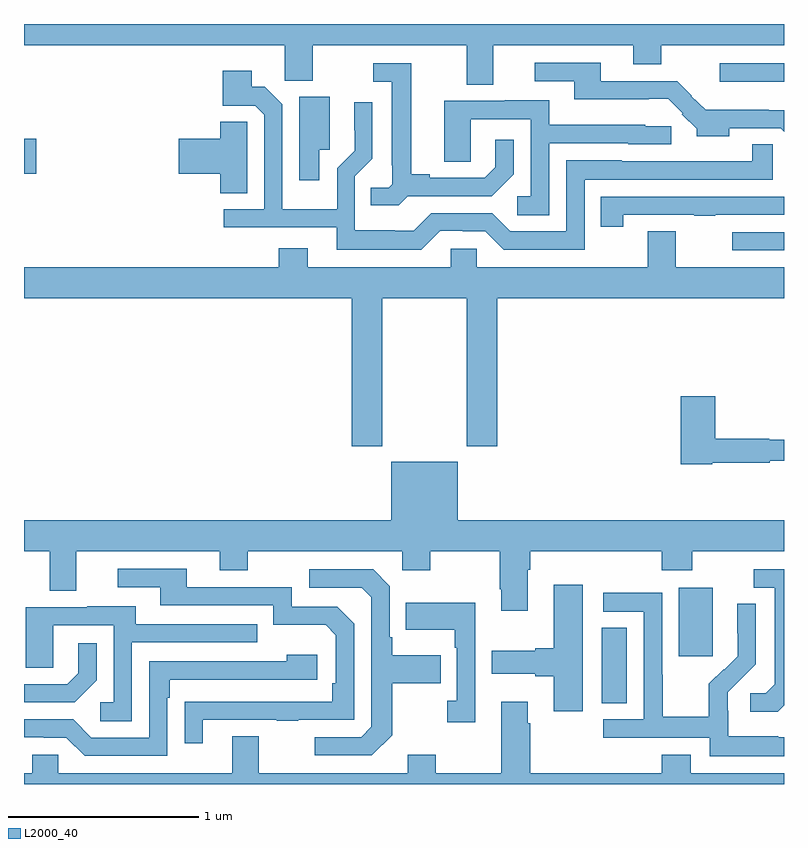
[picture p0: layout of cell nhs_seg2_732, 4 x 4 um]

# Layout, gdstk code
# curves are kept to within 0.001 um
import gdstk
lib = gdstk.Library(unit=1e-6, precision=1e-09)
def R(c, l, rs):  # rectangles x0, y0, x1, y1
    for r in rs: c.add(gdstk.rectangle(r[:2], r[2:], *l))
def P(c, l, *ps):  # polygons
    for p in ps: c.add(gdstk.Polygon(p, *l))
L2000_40 = (2000, 40)

nhs_seg2_732 = lib.new_cell('nhs_seg2_732')
R(nhs_seg2_732, L2000_40, [(152.042,592.225,152.173,592.622), (152.447,592.473,152.626,592.834), (152.727,594.609,153,594.705), (149,595.013,149.065,595.196), (152.661,595.496,153,595.593)])
P(nhs_seg2_732, L2000_40, [(151.471,595.688),(152.207,595.688),(152.207,595.589),(152.355,595.589),(152.355,595.688),(153,595.688),(153,595.8),(149,595.8),(149,595.688),(150.372,595.688),(150.372,595.501),(150.519,595.501),(150.519,595.688),(151.331,595.688),(151.331,595.48),(151.471,595.48)],
  [(152.713,595.251),(152.982,595.251),(153,595.233),(153,595.346),(152.921,595.346),(152.921,595.348),(152.587,595.348),(152.513,595.421),(152.515,595.423),(152.439,595.5),(152.035,595.5),(152.035,595.596),(151.689,595.596),(151.689,595.5),(151.895,595.5),(151.895,595.403),(152.288,595.403),(152.288,595.406),(152.39,595.406),(152.466,595.329),(152.463,595.326),(152.542,595.248),(152.542,595.208),(152.713,595.208)],
  [(151.02,594.894),(151.462,594.894),(151.578,595.01),(151.578,595.192),(151.481,595.192),(151.481,595.047),(151.424,594.99),(151.135,594.99),(151.135,595.01),(151.039,595.01),(151.039,595.593),(150.837,595.593),(150.837,595.497),(150.935,595.497),(150.935,595.057),(150.939,595.057),(150.939,594.957),(150.921,594.939),(150.826,594.939),(150.826,594.847),(150.972,594.847)],
  [(151.191,594.711),(151.308,594.711),(151.308,594.708),(151.428,594.708),(151.524,594.612),(151.95,594.612),(151.95,594.981),(152.94,594.981),(152.94,595.166),(152.832,595.166),(152.832,595.078),(152.145,595.077),(152.145,595.084),(151.854,595.084),(151.854,594.708),(151.56,594.708),(151.464,594.804),(151.143,594.804),(151.05,594.711),(150.95,594.711),(150.95,594.715),(150.741,594.715),(150.741,594.999),(150.834,595.092),(150.834,595.387),(150.738,595.387),(150.738,595.24),(150.74,595.24),(150.74,595.134),(150.648,595.042),(150.648,594.826),(150.36,594.826),(150.36,595.377),(150.267,595.47),(150.199,595.47),(150.199,595.555),(150.047,595.555),(150.047,595.371),(150.216,595.371),(150.264,595.323),(150.264,594.825),(150.051,594.825),(150.051,594.729),(150.647,594.729),(150.647,594.611),(151.091,594.611)],
  [(150.553,595.137),(150.61,595.137),(150.61,595.416),(150.449,595.416),(150.449,594.978),(150.553,594.978)],
  [(151.764,595.173),(152.181,595.173),(152.181,595.167),(152.406,595.167),(152.406,595.263),(152.271,595.263),(152.271,595.27),(151.765,595.27),(151.765,595.399),(151.529,595.399),(151.529,595.395),(151.211,595.395),(151.211,595.075),(151.35,595.075),(151.35,595.299),(151.668,595.299),(151.668,594.894),(151.596,594.894),(151.596,594.793),(151.764,594.793)],
  [(150.175,595.178),(150.174,595.178),(150.174,595.286),(150.032,595.286),(150.032,595.196),(149.814,595.196),(149.814,595.013),(150.032,595.013),(150.032,594.91),(150.175,594.91)],
  [(152.154,594.795),(152.527,594.795),(152.527,594.79),(152.639,594.79),(152.639,594.795),(153,594.795),(153,594.891),(152.035,594.891),(152.035,594.732),(152.154,594.732)],
  [(150.885,594.356),(151.33,594.356),(151.33,593.577),(151.49,593.577),(151.49,594.356),(153,594.356),(153,594.52),(152.431,594.52),(152.431,594.71),(152.284,594.71),(152.284,594.52),(151.383,594.52),(151.383,594.618),(151.245,594.618),(151.245,594.52),(150.493,594.52),(150.493,594.619),(150.341,594.619),(150.341,594.52),(149,594.52),(149,594.356),(150.725,594.356),(150.725,593.577),(150.885,593.577)],
  [(152.622,593.49),(152.924,593.49),(152.924,593.502),(153,593.502),(153,593.611),(152.922,593.611),(152.922,593.618),(152.639,593.618),(152.639,593.842),(152.456,593.842),(152.456,593.482),(152.622,593.482)],
  [(151.651,592.928),(151.664,592.928),(151.664,593.024),(152.357,593.024),(152.357,592.925),(152.517,592.925),(152.517,593.024),(153,593.024),(153,593.188),(151.282,593.188),(151.282,593.497),(150.932,593.497),(150.932,593.188),(149,593.188),(149,593.024),(149.135,593.024),(149.135,592.816),(149.275,592.816),(149.275,593.024),(150.029,593.024),(150.029,592.925),(150.177,592.925),(150.177,593.024),(150.99,593.024),(150.99,592.925),(151.137,592.925),(151.137,593.024),(151.504,593.024),(151.504,592.825),(151.511,592.825),(151.511,592.713),(151.651,592.713)],
  [(149.941,592.137),(150.331,592.137),(150.331,592.132),(150.443,592.132),(150.443,592.137),(150.738,592.137),(150.738,592.644),(150.648,592.734),(150.408,592.734),(150.408,592.836),(149.857,592.836),(149.857,592.932),(149.493,592.932),(149.493,592.836),(149.717,592.836),(149.717,592.74),(150.312,592.74),(150.312,592.637),(150.589,592.637),(150.642,592.584),(150.642,592.33),(150.622,592.33),(150.622,592.233),(149.845,592.232),(149.845,592.014),(149.941,592.014)],
  [(150.937,592.057),(150.937,592.33),(151.193,592.33),(151.193,592.477),(150.937,592.477),(150.937,592.573),(150.924,592.573),(150.924,592.842),(150.837,592.929),(150.501,592.929),(150.501,592.833),(150.777,592.833),(150.828,592.782),(150.828,592.101),(150.774,592.047),(150.531,592.047),(150.531,591.951),(150.831,591.951)],
  [(153,592.215),(153,592.929),(152.841,592.929),(152.841,592.833),(152.951,592.833),(152.951,592.325),(152.904,592.278),(152.823,592.278),(152.823,592.181),(152.966,592.181)],
  [(151.942,592.849),(151.787,592.849),(151.787,592.514),(151.691,592.514),(151.691,592.501),(151.461,592.501),(151.461,592.379),(151.691,592.379),(151.691,592.367),(151.787,592.367),(151.787,592.182),(151.942,592.182)],
  [(153,592.047),(152.969,592.047),(152.969,592.051),(152.706,592.051),(152.706,592.185),(152.704,592.185),(152.704,592.282),(152.85,592.43),(152.85,592.748),(152.754,592.748),(152.754,592.594),(152.756,592.594),(152.756,592.472),(152.685,592.401),(152.682,592.404),(152.605,592.327),(152.605,592.153),(152.361,592.153),(152.361,592.376),(152.358,592.376),(152.358,592.806),(152.049,592.806),(152.049,592.707),(152.262,592.707),(152.262,592.14),(152.049,592.14),(152.049,592.044),(152.61,592.044),(152.61,591.947),(153,591.947)],
  [(151.374,592.753),(151.009,592.753),(151.009,592.613),(151.266,592.613),(151.266,592.517),(151.278,592.517),(151.278,592.238),(151.227,592.238),(151.227,592.125),(151.374,592.125)],
  [(149.568,592.545),(150.227,592.545),(150.227,592.641),(149.587,592.641),(149.587,592.735),(149.333,592.735),(149.333,592.731),(149.009,592.731),(149.009,592.411),(149.154,592.411),(149.154,592.635),(149.472,592.635),(149.472,592.23),(149.4,592.23),(149.4,592.129),(149.568,592.129)],
  [(149.382,592.346),(149.382,592.54),(149.285,592.54),(149.285,592.383),(149.228,592.326),(149,592.326),(149,592.23),(149.266,592.23)],
  [(149.754,592.253),(149.767,592.253),(149.767,592.35),(150.544,592.35),(150.544,592.48),(150.383,592.48),(150.383,592.446),(149.658,592.446),(149.658,592.044),(149.355,592.044),(149.259,592.14),(149,592.14),(149,592.047),(149.105,592.047),(149.105,592.044),(149.223,592.044),(149.319,591.948),(149.754,591.948)],
  [(153,591.856),(152.509,591.856),(152.509,591.955),(152.357,591.955),(152.357,591.856),(151.664,591.856),(151.664,592.121),(151.651,592.121),(151.651,592.234),(151.511,592.234),(151.511,591.856),(151.167,591.856),(151.167,591.955),(151.019,591.955),(151.019,591.856),(150.235,591.856),(150.235,592.051),(150.095,592.051),(150.095,591.856),(149.181,591.856),(149.181,591.954),(149.043,591.954),(149.043,591.856),(149,591.856),(149,591.8),(153,591.8)])

lib.write_gds('nhs_seg2_732.gds')
